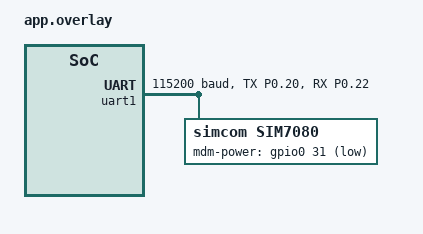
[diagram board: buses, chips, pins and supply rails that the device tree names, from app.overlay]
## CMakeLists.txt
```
cmake_minimum_required(VERSION 3.20.0)

find_package(Zephyr REQUIRED HINTS $ENV{ZEPHYR_BASE})

project(modem_ppp_sim7080g)

target_sources(app PRIVATE src/main.c)
```

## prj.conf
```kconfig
# # Journalisation générale
# CONFIG_LOG=y

# # Pile Réseau Fondamentale
# CONFIG_NETWORKING=y
# CONFIG_NET_IPV4=y
# CONFIG_NET_SOCKETS=y

# # Activation correcte d'ICMP (Ping) pour IPv4

# # Activation de la couche PPP native
# CONFIG_NET_L2_PPP=y
# CONFIG_MODEM_CMUX=n
# # Le framework modem moderne de Zephyr
# CONFIG_MODEM=y
# CONFIG_MODEM_CELLULAR=y
# CONFIG_MODEM_CELLULAR_APN="TM"
# CONFIG_BUILD_OUTPUT_UF2=y
# CONFIG_LOG_DEFAULT_LEVEL=2

# CONFIG_MODEM_LOG_LEVEL_DBG=y
# CONFIG_NET_PPP_LOG_LEVEL_DBG=y
# CONFIG_NET_L2_PPP_LOG_LEVEL_DBG=y
# CONFIG_NET_LOG=y
# CONFIG_NET_CORE_LOG_LEVEL_DBG=y
# CONFIG_NET_IF_LOG_LEVEL_DBG=y
# CONFIG_NET_MGMT_EVENT_LOG_LEVEL_DBG=y

# # Make sure you have enough log buffer
# CONFIG_LOG_BUFFER_SIZE=4096
# CONFIG_LOG_PROCESS_THREAD_STACK_SIZE=2048

# CONFIG_USB_DEVICE_LOG_LEVEL_OFF=y
# CONFIG_UDC_DRIVER_LOG_LEVEL_OFF=y
# CONFIG_MPU_LOG_LEVEL_OFF=y

CONFIG_NETWORKING=y
CONFIG_NET_IPV4=y
CONFIG_NET_IPV6=y
CONFIG_NET_UDP=y
CONFIG_NET_SOCKETS=y

CONFIG_MODEM_CELLULAR=y

CONFIG_LOG=y

CONFIG_BUILD_OUTPUT_UF2=y
```

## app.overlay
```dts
/* Extend the existing pinctrl node instead of redefining it */
&pinctrl {
    uart1_default: uart1_default {
        group1 {
            psels = <NRF_PSEL(UART_TX, 0, 20)>;
        };
        group2 {
            psels = <NRF_PSEL(UART_RX, 0, 22)>;
            bias-pull-up;
        };
    };

    uart1_sleep: uart1_sleep {
        group1 {
            psels = <NRF_PSEL(UART_TX, 0, 20)>,
                    <NRF_PSEL(UART_RX, 0, 22)>;
            low-power-enable;
        };
    };
};
&uart1 {
    status = "okay";
    current-speed = <115200>;
    pinctrl-0 = <&uart1_default>;
    pinctrl-1 = <&uart1_sleep>;
    pinctrl-names = "default", "sleep";

    sim7080: sim7080 {
        autostarts;
        compatible = "simcom,sim7080";
        status = "okay";
        mdm-power-gpios = <&gpio0 31 GPIO_ACTIVE_LOW>;
    };
};
```

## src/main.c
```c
#include <zephyr/kernel.h>
#include <zephyr/logging/log.h>
#include <zephyr/net/net_if.h>
#include <zephyr/net/net_core.h>

LOG_MODULE_REGISTER(app, LOG_LEVEL_INF);

int main(void)
{
    const struct net_if *iface;
    struct net_linkaddr *ll;

    LOG_INF("PPP demo start");

    iface = net_if_get_default();
    if (!iface) {
        LOG_ERR("No default interface");
        return 0;
    }

    ll = net_if_get_link_addr((struct net_if *)iface);
    LOG_INF("Interface ready: %s", ll ? ll->addr : "unknown");

    while (1) {
        k_sleep(K_SECONDS(5));
        LOG_INF("PPP app running");
    }
}
```
